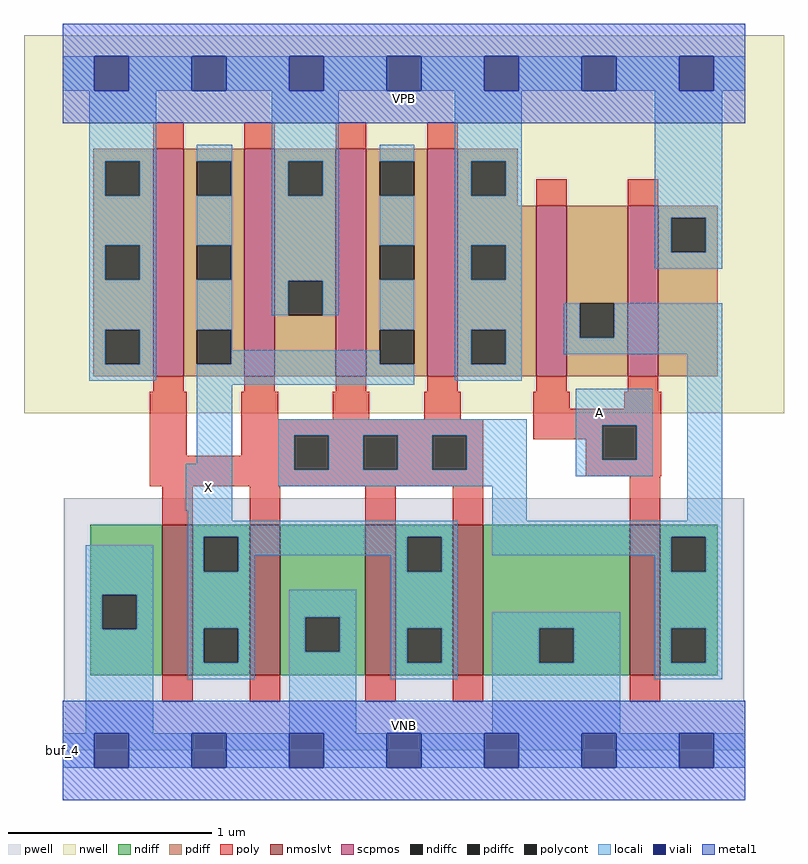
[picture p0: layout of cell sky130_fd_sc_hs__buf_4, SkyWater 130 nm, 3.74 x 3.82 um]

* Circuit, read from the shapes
.subckt sky130_fd_sc_hs__buf_4 A VGND VNB VPB VPWR X
XM1 X n1 VGND VNB sky130_fd_pr__nfet_01v8_lvt w=0.74 l=0.15 m=4
XM2 n1 A VGND VNB sky130_fd_pr__nfet_01v8_lvt w=0.74 l=0.15
XM3 X n1 VPWR VPB sky130_fd_pr__pfet_01v8 w=1.12 l=0.15 m=4
XM4 n1 A VPWR VPB sky130_fd_pr__pfet_01v8 w=0.84 l=0.15 m=2
.ends

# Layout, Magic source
magic
tech sky130A
magscale 1 2
<< nwell >>
rect -38 332 710 704
<< pwell >>
rect 1 49 671 248
rect 0 0 672 49
<< scpmos >>
rect 89 368 119 592
rect 179 368 209 592
rect 269 368 299 592
rect 359 368 389 592
rect 466 368 496 536
rect 556 368 586 536
<< nmoslvt >>
rect 98 74 128 222
rect 184 74 214 222
rect 298 74 328 222
rect 384 74 414 222
rect 558 74 588 222
<< ndiff >>
rect 27 153 98 222
rect 27 119 39 153
rect 73 119 98 153
rect 27 74 98 119
rect 128 210 184 222
rect 128 176 139 210
rect 173 176 184 210
rect 128 120 184 176
rect 128 86 139 120
rect 173 86 184 120
rect 128 74 184 86
rect 214 131 298 222
rect 214 97 239 131
rect 273 97 298 131
rect 214 74 298 97
rect 328 210 384 222
rect 328 176 339 210
rect 373 176 384 210
rect 328 120 384 176
rect 328 86 339 120
rect 373 86 384 120
rect 328 74 384 86
rect 414 120 558 222
rect 414 86 469 120
rect 503 86 558 120
rect 414 74 558 86
rect 588 210 645 222
rect 588 176 599 210
rect 633 176 645 210
rect 588 120 645 176
rect 588 86 599 120
rect 633 86 645 120
rect 588 74 645 86
<< pdiff >>
rect 30 580 89 592
rect 30 546 42 580
rect 76 546 89 580
rect 30 497 89 546
rect 30 463 42 497
rect 76 463 89 497
rect 30 414 89 463
rect 30 380 42 414
rect 76 380 89 414
rect 30 368 89 380
rect 119 580 179 592
rect 119 546 132 580
rect 166 546 179 580
rect 119 497 179 546
rect 119 463 132 497
rect 166 463 179 497
rect 119 414 179 463
rect 119 380 132 414
rect 166 380 179 414
rect 119 368 179 380
rect 209 580 269 592
rect 209 546 222 580
rect 256 546 269 580
rect 209 462 269 546
rect 209 428 222 462
rect 256 428 269 462
rect 209 368 269 428
rect 299 580 359 592
rect 299 546 312 580
rect 346 546 359 580
rect 299 497 359 546
rect 299 463 312 497
rect 346 463 359 497
rect 299 414 359 463
rect 299 380 312 414
rect 346 380 359 414
rect 299 368 359 380
rect 389 580 448 592
rect 389 546 402 580
rect 436 546 448 580
rect 389 536 448 546
rect 389 497 466 536
rect 389 463 402 497
rect 436 463 466 497
rect 389 414 466 463
rect 389 380 402 414
rect 436 380 466 414
rect 389 368 466 380
rect 496 440 556 536
rect 496 406 509 440
rect 543 406 556 440
rect 496 368 556 406
rect 586 524 645 536
rect 586 490 599 524
rect 633 490 645 524
rect 586 368 645 490
<< ndiffc >>
rect 39 119 73 153
rect 139 176 173 210
rect 139 86 173 120
rect 239 97 273 131
rect 339 176 373 210
rect 339 86 373 120
rect 469 86 503 120
rect 599 176 633 210
rect 599 86 633 120
<< pdiffc >>
rect 42 546 76 580
rect 42 463 76 497
rect 42 380 76 414
rect 132 546 166 580
rect 132 463 166 497
rect 132 380 166 414
rect 222 546 256 580
rect 222 428 256 462
rect 312 546 346 580
rect 312 463 346 497
rect 312 380 346 414
rect 402 546 436 580
rect 402 463 436 497
rect 402 380 436 414
rect 509 406 543 440
rect 599 490 633 524
<< poly >>
rect 89 592 119 618
rect 179 592 209 618
rect 269 592 299 618
rect 359 592 389 618
rect 466 536 496 562
rect 556 536 586 562
rect 89 353 119 368
rect 179 353 209 368
rect 269 353 299 368
rect 359 353 389 368
rect 466 353 496 368
rect 556 353 586 368
rect 86 290 122 353
rect 176 326 212 353
rect 266 326 302 353
rect 356 326 392 353
rect 463 336 499 353
rect 553 336 589 353
rect 176 310 414 326
rect 176 290 228 310
rect 86 276 228 290
rect 262 276 296 310
rect 330 276 364 310
rect 398 276 414 310
rect 463 320 589 336
rect 463 306 531 320
rect 86 260 414 276
rect 515 286 531 306
rect 565 286 589 320
rect 515 270 589 286
rect 98 222 128 260
rect 184 222 214 260
rect 298 222 328 260
rect 384 222 414 260
rect 558 222 588 270
rect 98 48 128 74
rect 184 48 214 74
rect 298 48 328 74
rect 384 48 414 74
rect 558 48 588 74
<< polycont >>
rect 228 276 262 310
rect 296 276 330 310
rect 364 276 398 310
rect 531 286 565 320
<< locali >>
rect 0 649 31 683
rect 65 649 127 683
rect 161 649 223 683
rect 257 649 319 683
rect 353 649 415 683
rect 449 649 511 683
rect 545 649 607 683
rect 641 649 672 683
rect 26 580 92 649
rect 26 546 42 580
rect 76 546 92 580
rect 26 497 92 546
rect 26 463 42 497
rect 76 463 92 497
rect 26 414 92 463
rect 26 380 42 414
rect 76 380 92 414
rect 26 364 92 380
rect 132 580 167 596
rect 166 546 167 580
rect 132 497 167 546
rect 166 463 167 497
rect 132 414 167 463
rect 206 580 272 649
rect 206 546 222 580
rect 256 546 272 580
rect 206 462 272 546
rect 206 428 222 462
rect 256 428 272 462
rect 312 580 346 596
rect 312 497 346 546
rect 166 394 167 414
rect 312 414 346 463
rect 166 380 312 394
rect 132 360 346 380
rect 386 580 452 649
rect 386 546 402 580
rect 436 546 452 580
rect 386 497 452 546
rect 386 463 402 497
rect 436 463 452 497
rect 583 524 649 649
rect 583 490 599 524
rect 633 490 649 524
rect 583 474 649 490
rect 386 414 452 463
rect 386 380 402 414
rect 436 380 452 414
rect 493 406 509 440
rect 543 406 649 440
rect 493 390 649 406
rect 386 364 452 380
rect 132 282 167 360
rect 121 236 167 282
rect 212 310 457 326
rect 212 276 228 310
rect 262 276 296 310
rect 330 276 364 310
rect 398 276 457 310
rect 212 260 457 276
rect 505 320 581 356
rect 505 286 531 320
rect 565 286 581 320
rect 505 270 581 286
rect 123 226 167 236
rect 423 226 457 260
rect 615 226 649 390
rect 123 210 389 226
rect 23 153 89 202
rect 23 119 39 153
rect 73 119 89 153
rect 23 17 89 119
rect 123 176 139 210
rect 173 192 339 210
rect 173 176 189 192
rect 123 120 189 176
rect 323 176 339 192
rect 373 176 389 210
rect 423 210 649 226
rect 423 192 599 210
rect 123 86 139 120
rect 173 86 189 120
rect 123 70 189 86
rect 223 131 289 158
rect 223 97 239 131
rect 273 97 289 131
rect 223 17 289 97
rect 323 120 389 176
rect 583 176 599 192
rect 633 176 649 210
rect 323 86 339 120
rect 373 86 389 120
rect 323 70 389 86
rect 423 120 549 136
rect 423 86 469 120
rect 503 86 549 120
rect 423 17 549 86
rect 583 120 649 176
rect 583 86 599 120
rect 633 86 649 120
rect 583 70 649 86
rect 0 -17 31 17
rect 65 -17 127 17
rect 161 -17 223 17
rect 257 -17 319 17
rect 353 -17 415 17
rect 449 -17 511 17
rect 545 -17 607 17
rect 641 -17 672 17
<< viali >>
rect 31 649 65 683
rect 127 649 161 683
rect 223 649 257 683
rect 319 649 353 683
rect 415 649 449 683
rect 511 649 545 683
rect 607 649 641 683
rect 31 -17 65 17
rect 127 -17 161 17
rect 223 -17 257 17
rect 319 -17 353 17
rect 415 -17 449 17
rect 511 -17 545 17
rect 607 -17 641 17
<< metal1 >>
rect 0 683 672 715
rect 0 649 31 683
rect 65 649 127 683
rect 161 649 223 683
rect 257 649 319 683
rect 353 649 415 683
rect 449 649 511 683
rect 545 649 607 683
rect 641 649 672 683
rect 0 617 672 649
rect 0 17 672 49
rect 0 -17 31 17
rect 65 -17 127 17
rect 161 -17 223 17
rect 257 -17 319 17
rect 353 -17 415 17
rect 449 -17 511 17
rect 545 -17 607 17
rect 641 -17 672 17
rect 0 -49 672 -17
<< labels >>
rlabel comment s 0 0 0 0 4 buf_4
flabel pwell s 0 0 672 49 0 FreeSans 200 0 0 0 VNB
port 3 nsew ground bidirectional
flabel nwell s 0 617 672 666 0 FreeSans 200 0 0 0 VPB
port 4 nsew power bidirectional
flabel metal1 s 0 617 672 666 0 FreeSans 340 0 0 0 VPWR
port 5 nsew power bidirectional
flabel metal1 s 0 0 672 49 0 FreeSans 340 0 0 0 VGND
port 2 nsew ground bidirectional
flabel locali s 511 316 545 350 0 FreeSans 340 0 0 0 A
port 1 nsew signal input
flabel locali s 127 242 161 276 0 FreeSans 340 0 0 0 X
port 6 nsew signal output
<< properties >>
string LEFsite unit
string LEFclass CORE
string FIXED_BBOX 0 0 672 666
string GDS_FILE $PDKPATH/libs.ref/sky130_fd_sc_hs/gds/sky130_fd_sc_hs.gds
string LEFsymmetry X Y
string GDS_END 3110228
string GDS_START 3104508
<< end >>
